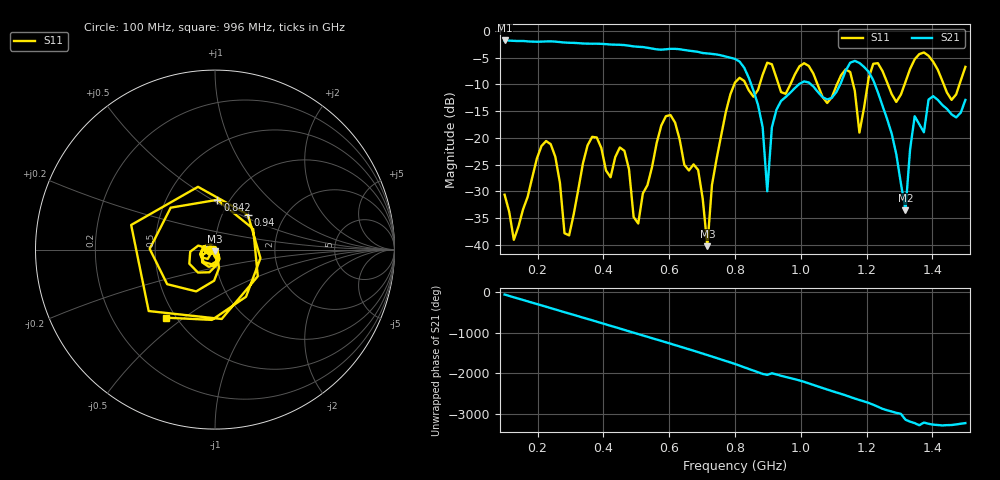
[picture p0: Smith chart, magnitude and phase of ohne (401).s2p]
! NanoVNA-App
! Date: 2025-09-25 14:23:55
! Start: 100MHz Stop: 1,5GHz Points: 101
! S-Parameter data: F S11 S21 S12 S22
# Hz S RI R 50
!  Frequency  S11_Real  S11_Imag  S21_Real  S21_Imag  S12_Real  S12_Imag  S22_Real  S22_Imag
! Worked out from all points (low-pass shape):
!   101 points, 100 MHz to 1.5 GHz, reference 50 ohm
!   highest |S21| = -1.79 dB at 100 MHz (marker M1); lowest = -33.5 dB at 1.318 GHz (marker M2)
!   |S21| within 3 dB of the highest: start of sweep to 771.3 MHz
!   lowest |S11| = -40.3 dB at 716 MHz (marker M3), VSWR 1.02, Z = 49.8 - j0.955 ohm
!   |S11| at or under -10 dB: start of sweep to 797.8 MHz; 833 MHz to 875.1 MHz (42.1 MHz wide, 4.93 % of centre); 1.051 GHz to 1.11 GHz (59.26 MHz wide, 5.49 % of centre) (the widest 3 of 7)
!   S12 and S22 are empty: the file has one direction only
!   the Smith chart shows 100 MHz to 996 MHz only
!   S11 on the Smith chart (normalised r, x): 100 MHz: 0.94, -0.01; 842 MHz: 0.88, +0.53; 940 MHz: 1.32, +0.55; 996 MHz: 0.44, -0.43
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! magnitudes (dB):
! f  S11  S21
! 100 MHz  -30.6  -1.8
! 128 MHz  -39.1  -1.9
! 226 MHz  -20.6  -2.0
! 296 MHz  -38.2  -2.2
! 338 MHz  -24.8  -2.4
! 464 MHz  -22.4  -2.7
! 506 MHz  -36.0  -3.0
! 576 MHz  -17.7  -3.5
! 688 MHz  -26.0  -3.9
! 716 MHz  -40.3  -4.2
! 800 MHz  -9.7  -5.2
! 842 MHz  -11.1  -8.8
! 898 MHz  -6.0  -30.0
! 940 MHz  -11.5  -13.1
! 996 MHz  -6.6  -9.9
! 1.038 GHz  -8.0  -10.4
! 1.178 GHz  -19.0  -6.0
! 1.22 GHz  -6.2  -9.2
! 1.276 GHz  -11.8  -19.2
! 1.318 GHz  -9.5  -33.5
! 1.346 GHz  -5.3  -16.0
! 1.5 GHz  -6.7  -12.9
